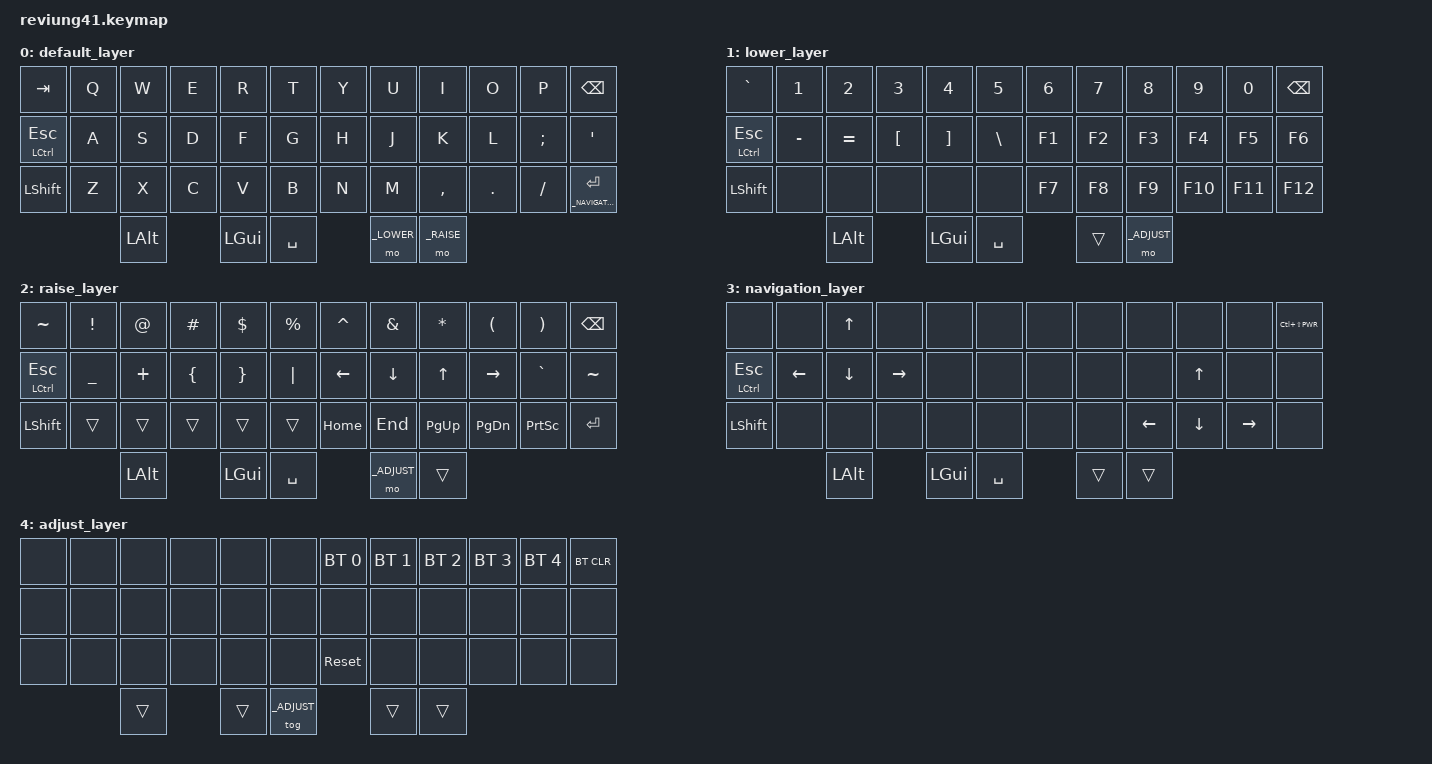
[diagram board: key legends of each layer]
/*
 * Copyright (c) 2020 The ZMK Contributors
 *
 * SPDX-License-Identifier: MIT
 */

#include <behaviors.dtsi>
#include <dt-bindings/zmk/keys.h>
#include <dt-bindings/zmk/bt.h>

// Custom shortcuts
#define _LOCKSCREEN LC(LS(C_PWR)) // Screen Lock shortcut for OSX

// Layers
#define _DEFAULT 0
#define _LOWER 1
#define _RAISE 2
#define _NAVIGATION 3
#define _ADJUST 4

/ {
        keymap {
                compatible = "zmk,keymap";

                default_layer {
/* default_layer
 * ,-----------------------------------------------, ,-----------------------------------------------,
 * |  tab  |   q   |   w   |   e   |   r   |   t   | |   y   |   u   |   i   |   o   |   p   | bkspc |
 * |-------+-------+-------+-------+-------+-------| |-------+-------+-------+-------+-------+-------|
 * | ctrl  |   a   |   s   |   d   |   f   |   g   | |   h   |   j   |   k   |   l   |   ;   |   '   |
 * |-------+-------+-------+-------+-------+-------| |-------+-------+-------+-------+-------+-------|
 * | shift |   z   |   x   |   c   |   v   |   b   | |   n   |   m   |   ,   |   .   |   /   | enter |
 * '-----------------------------------------------' '-----------------------------------------------'
 *                         ,-------------------------------------------------,
 *                         |  opt  |  cmd  |      space      | lower | raise |
 *                         '-------------------------------------------------'
 */
                        bindings = <
   &kp TAB       &kp Q &kp W &kp E &kp R &kp T   &kp Y &kp U  &kp I     &kp O   &kp P    &kp BSPC
   &mt LCTL ESC  &kp A &kp S &kp D &kp F &kp G   &kp H &kp J  &kp K     &kp L   &kp SEMI &kp SQT
   &kp LSHFT     &kp Z &kp X &kp C &kp V &kp B   &kp N &kp M  &kp COMMA &kp DOT &kp FSLH &lt _NAVIGATION RET
                          &kp LALT &kp LGUI &kp SPACE &mo _LOWER &mo _RAISE
                        >;
                };

                lower_layer {
/* lower_layer
 * ,-----------------------------------------------, ,-----------------------------------------------,
 * |   `   |   1   |   2   |   3   |   4   |   5   | |   6   |   7   |   8   |   9   |   0   | bkspc |
 * |-------+-------+-------+-------+-------+-------| |-------+-------+-------+-------+-------+-------|
 * | ctrl  |   -   |   =   |   [   |   ]   |   \   | |   f1  |   f2  |   f3  |   f4  |   f5  |   f6  |
 * |-------+-------+-------+-------+-------+-------| |-------+-------+-------+-------+-------+-------|
 * | shift |       |       |       |       |       | |   f7  |   f8  |   f9  |  f10  |  f11  |  f12  |
 * '-----------------------------------------------' '-----------------------------------------------'
 *                         ,-------------------------------------------------,
 *                         |  opt  |  cmd  |      space      |       | adjst |
 *                         '-------------------------------------------------'
 */
                        bindings = <
   &kp GRAVE     &kp N1    &kp N2    &kp N3    &kp N4    &kp N5        &kp N6    &kp N7    &kp N8    &kp N9    &kp N0    &kp BSPC
   &mt LCTL ESC  &kp MINUS &kp EQUAL &kp LBKT  &kp RBKT  &kp BSLH      &kp F1    &kp F2    &kp F3    &kp F4    &kp F5    &kp F6
   &kp LSHFT     &none     &none     &none     &none     &none         &kp F7    &kp F8    &kp F9    &kp F10   &kp F11   &kp F12
                                       &kp LALT &kp LGUI       &kp SPACE        &trans      &mo _ADJUST
                        >;
                };

                raise_layer {
/* raise_layer
 * ,-----------------------------------------------, ,-----------------------------------------------,
 * |   ~   |   !   |   @   |   #   |   $   |   %   | |   ^   |   &   |   *   |   (   |   )   | bkspc |
 * |-------+-------+-------+-------+-------+-------| |-------+-------+-------+-------+-------+-------|
 * | ctrl  |   _   |   +   |   {   |   }   |   |   | | left  | down  |  up   | right |   `   |   ~   |
 * |-------+-------+-------+-------+-------+-------| |-------+-------+-------+-------+-------+-------|
 * | shift |       |       |       |       |       | | home  |  end  | pgup  | pgdn  | pscrn | enter |
 * '-----------------------------------------------' '-----------------------------------------------'
 *                         ,-------------------------------------------------,
 *                         |  opt  |  cmd  |      space      | adjst |       |
 *                         '-------------------------------------------------'
 */
                        bindings = <
   &kp TILDE     &kp EXCL  &kp AT   &kp HASH &kp DLLR &kp PRCNT      &kp CARET &kp AMPS &kp ASTRK &kp LPAR  &kp RPAR  &kp BSPC
   &mt LCTL ESC  &kp UNDER &kp PLUS &kp LBRC &kp RBRC &kp PIPE       &kp LEFT  &kp DOWN &kp UP    &kp RIGHT &kp GRAVE &kp TILDE
   &kp LSHFT     &trans    &trans   &trans   &trans   &trans         &kp HOME  &kp END  &kp PG_UP &kp PG_DN &kp PSCRN &kp RET
                                     &kp LALT &kp LGUI       &kp SPACE        &mo _ADJUST   &trans
                        >;
                };

                navigation_layer {
/* navigation_layer
 * ,-----------------------------------------------, ,-----------------------------------------------,
 * |       |       |  up   |       |       |       | |       |       |       |       |       | lock  |
 * |-------+-------+-------+-------+-------+-------| |-------+-------+-------+-------+-------+-------|
 * | ctrl  | left  | down  | right |       |       | |       |       |       |  up   |       |       |
 * |-------+-------+-------+-------+-------+-------| |-------+-------+-------+-------+-------+-------|
 * | shift |       |       |       |       |       | |       |       | left  |  down | right |       |
 * '-----------------------------------------------' '-----------------------------------------------'
 *                         ,-------------------------------------------------,
 *                         |  opt  |  cmd  |      space      |       |       |
 *                         '-------------------------------------------------'
 */
                        bindings = <
   &none         &none    &kp UP   &none     &none &none   &none &none &none    &none    &none     &kp _LOCKSCREEN
   &mt LCTL ESC  &kp LEFT &kp DOWN &kp RIGHT &none &none   &none &none &none    &kp UP   &none     &none
   &kp LSHFT     &none    &none    &none     &none &none   &none &none &kp LEFT &kp DOWN &kp RIGHT &none
                                     &kp LALT  &kp LGUI  &kp SPACE  &trans  &trans
                        >;
                };

                adjust_layer {
/* adjust_layer
 * ,-----------------------------------------------, ,-----------------------------------------------,
 * |       |       |       |       |       |       | |  bt1  |  bt2  |  bt3  |  bt4  |  bt5  | btclr |
 * |-------+-------+-------+-------+-------+-------| |-------+-------+-------+-------+-------+-------|
 * |       |       |       |       |       |       | |       |       |       |       |       |       |
 * |-------+-------+-------+-------+-------+-------| |-------+-------+-------+-------+-------+-------|
 * |       |       |       |       |       |       | | reset |       |       |       |       |       |
 * '-----------------------------------------------' '-----------------------------------------------'
 *                         ,-------------------------------------------------,
 *                         |       |       |      space      |       |       |
 *                         '-------------------------------------------------'
 */
                        bindings = <
   &none &none &none &none &none &none    &bt BT_SEL 0 &bt BT_SEL 1 &bt BT_SEL 2 &bt BT_SEL 3 &bt BT_SEL 4 &bt BT_CLR
   &none &none &none &none &none &none    &none        &none        &none        &none        &none        &none
   &none &none &none &none &none &none    &sys_reset   &none        &none        &none        &none        &none
           &trans      &trans     &tog _ADJUST        &trans      &trans
                        >;
                };
        };
};
